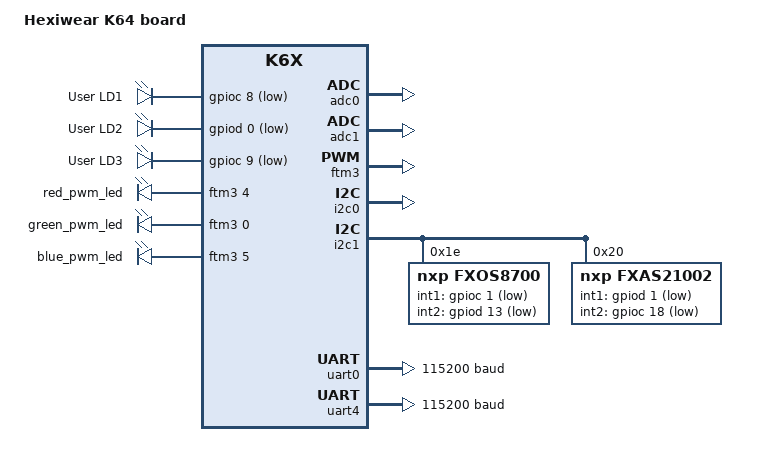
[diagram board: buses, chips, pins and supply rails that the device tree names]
/* SPDX-License-Identifier: Apache-2.0 */

/dts-v1/;

#include <nxp/nxp_k6x.dtsi>
#include <dt-bindings/pwm/pwm.h>

/ {
	model = "Hexiwear K64 board";
	compatible = "nxp,hexiwear", "nxp,k64f", "nxp,k6x";

	aliases {
		led0 = &green_led;
		led1 = &blue_led;
		led2 = &red_led;
		pwm-led0 = &green_pwm_led;
		red-pwm-led = &red_pwm_led;
		green-pwm-led = &green_pwm_led;
		blue-pwm-led = &blue_pwm_led;
	};

	chosen {
		zephyr,sram = &sram0;
		zephyr,flash = &flash0;
		zephyr,code-partition = &slot0_partition;
		zephyr,console = &uart0;
		zephyr,shell-uart = &uart0;
		zephyr,bt-uart = &uart4;
	};

	leds {
		compatible = "gpio-leds";
		red_led: led_0 {
			gpios = <&gpioc 8 GPIO_ACTIVE_LOW>;
			label = "User LD1";
		};
		green_led: led_1 {
			gpios = <&gpiod 0 GPIO_ACTIVE_LOW>;
			label = "User LD2";
		};
		blue_led: led_2 {
			gpios = <&gpioc 9 GPIO_ACTIVE_LOW>;
			label = "User LD3";
		};
	};

	pwmleds {
		compatible = "pwm-leds";

		red_pwm_led: red_pwm_led {
			pwms = <&ftm3 4 15625000 PWM_POLARITY_INVERTED>;
		};
		green_pwm_led: green_pwm_led {
			pwms = <&ftm3 0 15625000 PWM_POLARITY_INVERTED>;
		};
		blue_pwm_led: blue_pwm_led {
			pwms = <&ftm3 5 15625000 PWM_POLARITY_INVERTED>;
		};
	};
};

&cpu0 {
	clock-frequency = <120000000>;
};

&adc0 {
	status = "okay";
};

&adc1 {
	status = "okay";
};

&ftm3 {
	status = "okay";
	compatible = "nxp,kinetis-ftm-pwm";
	#pwm-cells = <3>;
};

&i2c0 {
	status = "okay";

	max30101@57 {
		status = "disabled";
		compatible = "max,max30101";
		reg = <0x57>;
		label = "MAX30101";
	};
};

&i2c1 {
	status = "okay";

	fxos8700@1e {
		compatible = "nxp,fxos8700";
		reg = <0x1e>;
		label = "FXOS8700";
		int1-gpios = <&gpioc 1 GPIO_ACTIVE_LOW>;
		int2-gpios = <&gpiod 13 GPIO_ACTIVE_LOW>;
	};

	fxas21002@20 {
		compatible = "nxp,fxas21002";
		reg = <0x20>;
		label = "FXAS21002";
		int1-gpios = <&gpiod 1 GPIO_ACTIVE_LOW>;
		int2-gpios = <&gpioc 18 GPIO_ACTIVE_LOW>;
	};
};

&uart0 {
	status = "okay";
	current-speed = <115200>;
};

&uart4 {
	status = "okay";
	current-speed = <115200>;
};

&gpiob {
	status = "okay";
};

&gpioc {
	status = "okay";
};

&gpiod {
	status = "okay";
};

&gpioe {
	status = "okay";
};

&flash0 {
	/*
	 * For more information, see:
	 * https://docs.zephyrproject.org/latest/guides/dts/legacy-macros.html#legacy-flash-partitions
	 */
	partitions {
		compatible = "fixed-partitions";
		#address-cells = <1>;
		#size-cells = <1>;

		boot_partition: partition@0 {
			label = "mcuboot";
			reg = <0x00000000 0x00010000>;
			read-only;
		};

		/*
		 * The flash starting at 0x00010000 and ending at
		 * 0x0001ffff (sectors 16-31) is reserved for use
		 * by the application.
		 */

		slot0_partition: partition@20000 {
			label = "image-0";
			reg = <0x00020000 0x00060000>;
		};
		slot1_partition: partition@80000 {
			label = "image-1";
			reg = <0x00080000 0x00060000>;
		};
		scratch_partition: partition@e0000 {
			label = "image-scratch";
			reg = <0x000e0000 0x00020000>;
		};
	};
};
